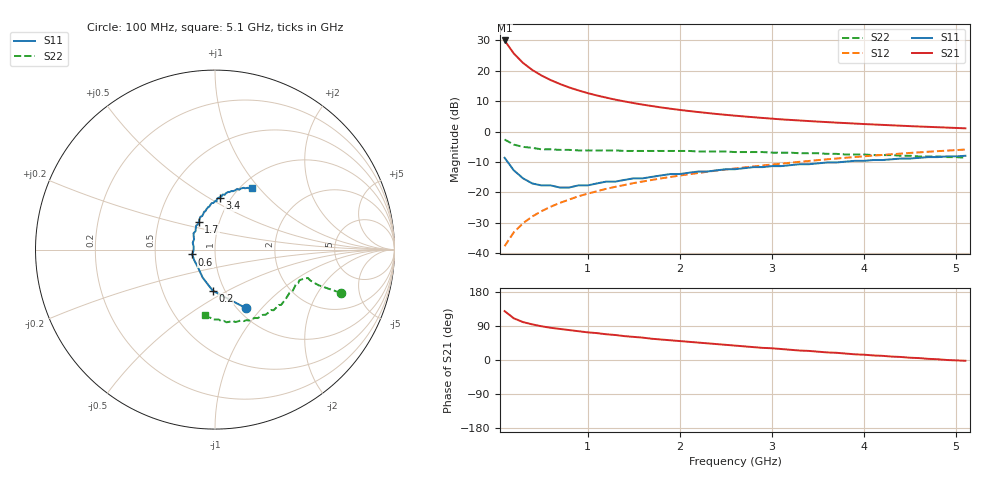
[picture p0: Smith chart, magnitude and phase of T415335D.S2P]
!AT-41533
!S and NOISE PARAMETERS at Vce=5V Ic=25mA. LAST UPDATED 01-25-95
# ghz s ma r 50
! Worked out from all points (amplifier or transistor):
!   51 points, 100 MHz to 5.1 GHz, reference 50 ohm
!   highest |S21| = 30.0 dB at 100 MHz (marker M1)
!   |S21| within 3 dB of that: start of sweep to 169.7 MHz
!   unconditionally stable (mu >= 1): 423.6 MHz to 2.052 GHz
!   at 900 MHz: K = 1.05, MAG = 16.0 dB, |S12| = -21.3 dB
!   at 2.6 GHz: K = 0.97, MSG = 8.7 dB, |S12| = -12.1 dB
!   at 5.1 GHz: K = 0.87, MSG = 3.5 dB, |S12| = -5.9 dB
!   lowest NFmin = 1.30 dB at 100 MHz
!   S11 on the Smith chart (normalised r, x): 100 MHz: 1.09, -0.83; 200 MHz: 0.88, -0.43; 600 MHz: 0.77, -0.04; 1.7 GHz: 0.80, +0.26; 3.4 GHz: 0.89, +0.56; 5.1 GHz: 1.12, +0.92
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0.1  0.37 -62.0  31.61 129.0  0.013 73.0  0.74 -19.0
0.2  0.23 -93.0  19.25 110.0  0.022 73.0  0.61 -19.0
0.3  0.17 -114.0  13.49 100.0  0.031 75.0  0.56 -18.0
0.4  0.14 -131.0  10.34 94.0  0.04 76.0  0.54 -17.0
0.5  0.13 -153.0  8.375 89.0  0.049 76.0  0.51 -19.0
0.6  0.13 -168.0  7.042 85.0  0.058 76.0  0.51 -19.0
0.7  0.12 -177.0  6.07 82.0  0.067 76.0  0.5 -20.0
0.8  0.12 172.0  5.329 79.0  0.076 76.0  0.5 -22.0
0.9  0.13 163.0  4.764 76.0  0.086 75.0  0.49 -23.0
1  0.13 154.0  4.305 73.0  0.095 74.0  0.49 -25.0
1.2  0.15 143.0  3.629 68.0  0.114 73.0  0.49 -27.0
1.3  0.15 136.0  3.357 66.0  0.123 72.0  0.49 -28.0
1.4  0.16 132.0  3.139 63.0  0.132 71.0  0.48 -30.0
1.7  0.18 120.0  2.63 56.0  0.16 69.0  0.48 -34.0
1.8  0.19 117.0  2.493 54.0  0.17 68.0  0.48 -35.0
2.2  0.22 106.0  2.098 46.0  0.208 64.0  0.47 -41.0
2.6  0.24 98.0  1.827 38.0  0.247 60.0  0.46 -47.0
2.9  0.26 92.0  1.677 32.0  0.277 57.0  0.46 -52.0
3.4  0.29 85.0  1.49 24.0  0.328 52.0  0.44 -62.0
3.5  0.3 83.0  1.46 22.0  0.339 51.0  0.44 -64.0
4.3  0.35 71.0  1.268 9.0  0.424 41.0  0.41 -81.0
5.1  0.4 59.0  1.131 -2.0  0.506 31.0  0.37 -99.0
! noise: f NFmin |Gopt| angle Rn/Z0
0.1  1.3  0.08  13  0.12
0.9  1.6  0.19  -170  0.1
1.8  1.9  0.42  -126  0.16
2.4  2.1  0.55  -105  0.32
